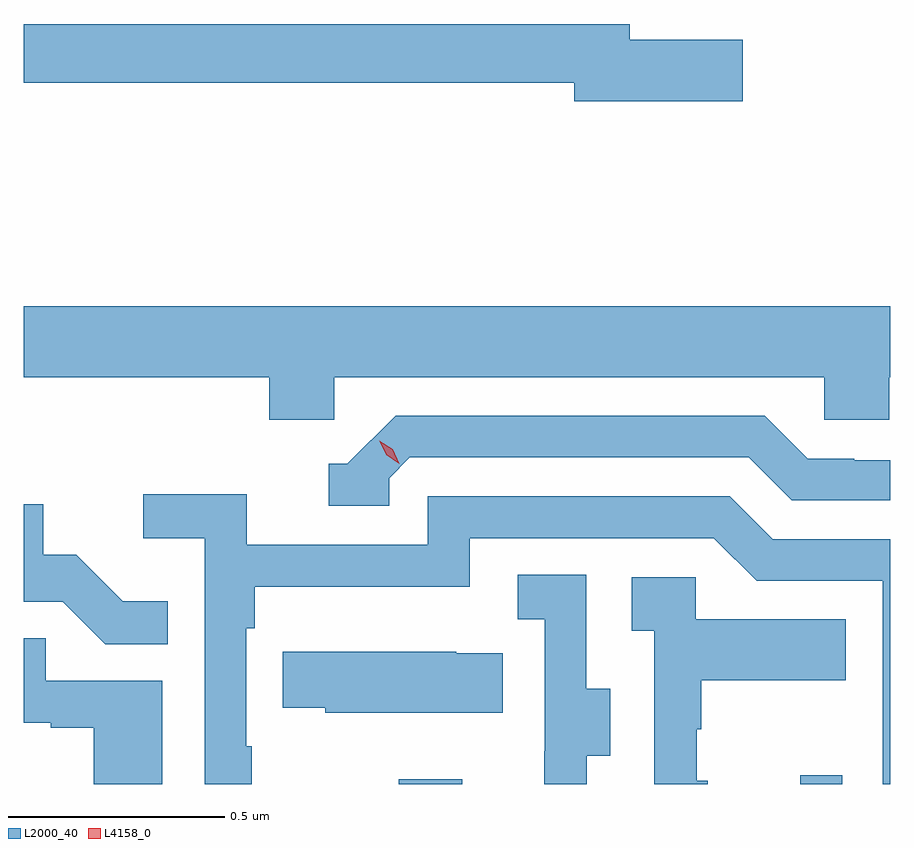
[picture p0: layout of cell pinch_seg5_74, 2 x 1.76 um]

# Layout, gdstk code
import gdstk
lib = gdstk.Library(unit=1e-6, precision=1e-09)
def R(c, l, rs):  # rectangles x0, y0, x1, y1
    for r in rs: c.add(gdstk.rectangle(r[:2], r[2:], *l))
def P(c, l, *ps):  # polygons
    for p in ps: c.add(gdstk.Polygon(p, *l))
L2000_40 = (2000, 40)
L4158_0 = (4158, 0)

pinch_seg5_74 = lib.new_cell('pinch_seg5_74')
R(pinch_seg5_74, L2000_40, [(1054.492,894.449,1054.639,894.46), (1055.42,894.449,1055.517,894.469)])
P(pinch_seg5_74, L2000_40, [(1055.287,896.168),(1055.026,896.168),(1055.026,896.204),(1053.627,896.204),(1053.627,896.068),(1054.898,896.068),(1054.898,896.026),(1055.287,896.026)],
  [(1054.344,895.388),(1055.475,895.388),(1055.475,895.29),(1055.625,895.29),(1055.625,895.388),(1055.627,895.388),(1055.627,895.552),(1053.627,895.552),(1053.627,895.388),(1054.193,895.388),(1054.193,895.29),(1054.344,895.29)],
  [(1054.47,895.155),(1054.518,895.203),(1055.301,895.203),(1055.4,895.104),(1055.627,895.104),(1055.627,895.197),(1055.544,895.197),(1055.544,895.2),(1055.437,895.2),(1055.338,895.299),(1054.485,895.299),(1054.374,895.188),(1054.331,895.188),(1054.331,895.092),(1054.47,895.092)],
  [(1054.153,894.536),(1054.14,894.536),(1054.14,894.809),(1054.16,894.809),(1054.16,894.905),(1054.656,894.905),(1054.656,895.017),(1055.22,895.017),(1055.319,894.918),(1055.61,894.918),(1055.61,894.449),(1055.627,894.449),(1055.627,895.014),(1055.356,895.014),(1055.257,895.113),(1054.56,895.113),(1054.56,895.002),(1054.142,895.002),(1054.142,895.118),(1053.903,895.118),(1053.903,895.016),(1054.044,895.016),(1054.044,894.449),(1054.153,894.449)],
  [(1053.959,894.871),(1053.855,894.871),(1053.748,894.978),(1053.672,894.978),(1053.672,895.095),(1053.627,895.095),(1053.627,894.87),(1053.717,894.87),(1053.815,894.772),(1053.959,894.772)],
  [(1054.927,894.514),(1054.981,894.514),(1054.981,894.669),(1054.926,894.669),(1054.926,894.932),(1054.767,894.932),(1054.767,894.829),(1054.83,894.829),(1054.83,894.525),(1054.829,894.525),(1054.829,894.449),(1054.927,894.449)],
  [(1055.206,894.456),(1055.181,894.456),(1055.181,894.575),(1055.191,894.575),(1055.191,894.689),(1055.525,894.689),(1055.525,894.829),(1055.178,894.829),(1055.178,894.927),(1055.031,894.927),(1055.031,894.803),(1055.082,894.803),(1055.082,894.449),(1055.206,894.449)],
  [(1053.946,894.687),(1053.677,894.687),(1053.677,894.785),(1053.627,894.785),(1053.627,894.591),(1053.689,894.591),(1053.689,894.579),(1053.788,894.579),(1053.788,894.449),(1053.946,894.449)],
  [(1054.733,894.751),(1054.625,894.751),(1054.625,894.754),(1054.225,894.754),(1054.225,894.625),(1054.323,894.625),(1054.323,894.614),(1054.733,894.614)])
P(pinch_seg5_74, L4158_0, [(1054.494,895.189),(1054.464,895.209),(1054.448,895.242),(1054.448,895.242),(1054.448,895.242),(1054.479,895.222),(1054.494,895.189),(1054.494,895.189)])

lib.write_gds('pinch_seg5_74.gds')
